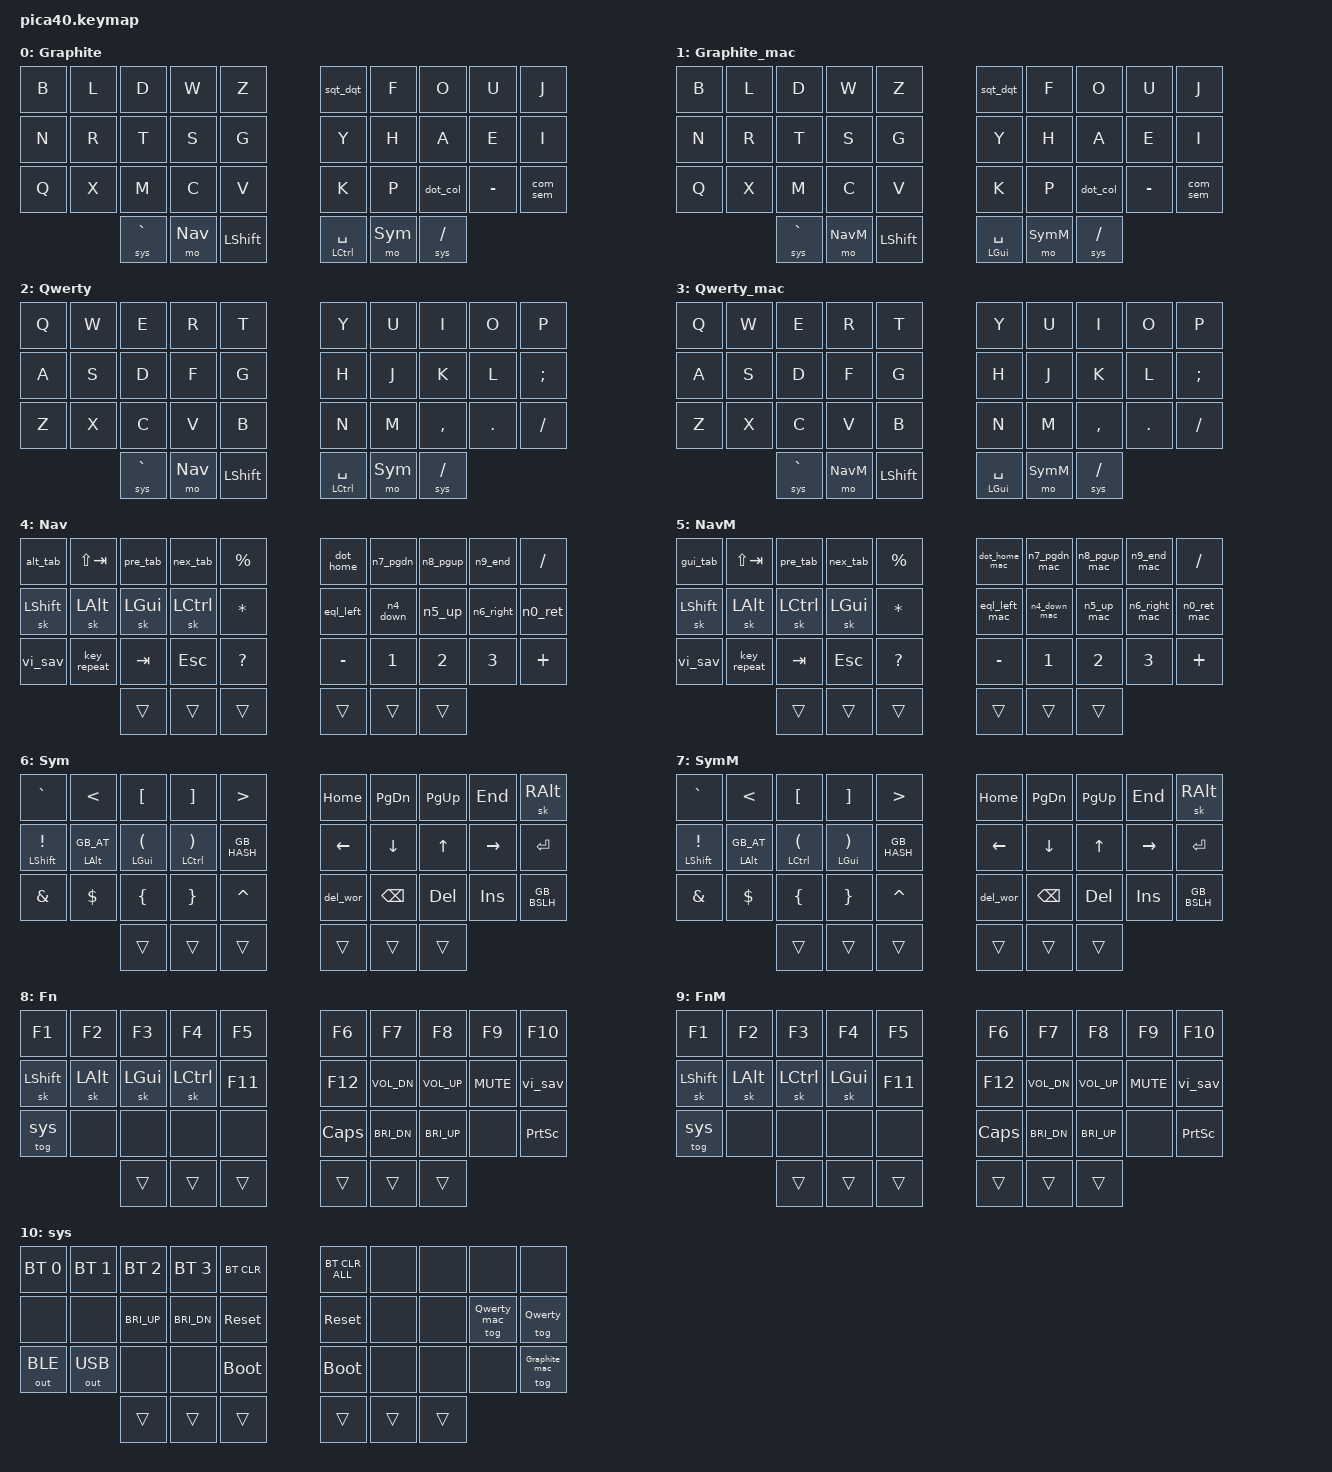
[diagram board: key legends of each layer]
// Auto-generated ZMK Keymap by Python zmk_gen system. DO NOT EDIT DIRECTLY.
#include <dt-bindings/zmk/keys.h>
#include <behaviors.dtsi>
#include <dt-bindings/zmk/bt.h>
#include <dt-bindings/zmk/outputs.h>
#include <zmk-helpers/helper.h>
#include "keys_en_gb_extended.h"

#define PRIOR_IDLE_MS 160
#define QUICK_TAP_MS 175
#define TAPPING_TERM 200

#undef COMBO_TERM
#define COMBO_TERM 50

#define KEYS_L 0 1 2 3 4 10 11 12 13 14 15 22 23 24 25 26 27
#define KEYS_R 5 6 7 8 9 16 17 18 19 20 21 28 29 30 31 32 33
#define THUMBS 34 35 36 37 38 39

/* All Other Behaviors */
&sk {
    release-after-ms = <1000>;
    quick-release;
};

&lt {
    tapping-term-ms = <TAPPING_TERM>;
    quick-tap-ms = <QUICK_TAP_MS>;
    flavor = "hold-preferred";
};

&mt {
    tapping-term-ms = <TAPPING_TERM>;
    quick-tap-ms = <QUICK_TAP_MS>;
    flavor = "hold-preferred";
};

&caps_word {
    continue-list = <UNDERSCORE MINUS BACKSPACE DELETE>;
    /delete-property/ ignore-modifiers;
};

/* Layer ID Definitions */
#define Graphite 0
#define Graphite_mac 1
#define Qwerty 2
#define Qwerty_mac 3
#define Nav 4
#define NavM 5
#define Sym 6
#define SymM 7
#define Fn 8
#define FnM 9
#define sys 10

/ {
    macros {
        uc_deg: uc_deg {
            compatible = "zmk,behavior-macro";
            #binding-cells = <0>;
            bindings = <&kp RALT>, <&kp O>, <&kp O>;
        };
        uc_gbp: uc_gbp {
            compatible = "zmk,behavior-macro";
            #binding-cells = <0>;
            bindings = <&kp RALT>, <&kp LS(L)>, <&kp EQL>;
        };
        uc_eur: uc_eur {
            compatible = "zmk,behavior-macro";
            #binding-cells = <0>;
            bindings = <&kp RALT>, <&kp C>, <&kp EQL>;
        };
        uc_rup: uc_rup {
            compatible = "zmk,behavior-macro";
            #binding-cells = <0>;
            bindings = <&kp RALT>, <&kp R>, <&kp EQL>;
        };
        vi_sav: vi_sav {
            compatible = "zmk,behavior-macro";
            #binding-cells = <0>;
            wait-ms = <20>;
            bindings = <&kp ESC>, <&kp COLON>, <&kp W>, <&kp RET>;
        };
        find: find {
            compatible = "zmk,behavior-macro";
            #binding-cells = <0>;
            bindings = <&kp LC(F)>;
        };
        pre_wor: pre_wor {
            compatible = "zmk,behavior-macro";
            #binding-cells = <0>;
            bindings = <&kp LC(LEFT)>;
        };
        nex_wor: nex_wor {
            compatible = "zmk,behavior-macro";
            #binding-cells = <0>;
            bindings = <&kp LC(RIGHT)>;
        };
        pre_tab: pre_tab {
            compatible = "zmk,behavior-macro";
            #binding-cells = <0>;
            bindings = <&kp LC(LS(TAB))>;
        };
        nex_tab: nex_tab {
            compatible = "zmk,behavior-macro";
            #binding-cells = <0>;
            bindings = <&kp LC(TAB)>;
        };
        pre_dsk: pre_dsk {
            compatible = "zmk,behavior-macro";
            #binding-cells = <0>;
            bindings = <&kp LC(LG(LEFT))>;
        };
        nex_dsk: nex_dsk {
            compatible = "zmk,behavior-macro";
            #binding-cells = <0>;
            bindings = <&kp LC(LG(RIGHT))>;
        };
        cut: cut {
            compatible = "zmk,behavior-macro";
            #binding-cells = <0>;
            bindings = <&kp LC(X)>;
        };
        copy: copy {
            compatible = "zmk,behavior-macro";
            #binding-cells = <0>;
            bindings = <&kp LC(C)>;
        };
        paste: paste {
            compatible = "zmk,behavior-macro";
            #binding-cells = <0>;
            bindings = <&kp LC(V)>;
        };
        half_dn: half_dn {
            compatible = "zmk,behavior-macro";
            #binding-cells = <0>;
            bindings = <&kp LC(D)>;
        };
        half_up: half_up {
            compatible = "zmk,behavior-macro";
            #binding-cells = <0>;
            bindings = <&kp LC(U)>;
        };
        del_wor: del_wor {
            compatible = "zmk,behavior-macro";
            #binding-cells = <0>;
            bindings = <&kp LC(BSPC)>;
        };
        macro_LCTRL_Nav: macro_LCTRL_Nav {
            compatible = "zmk,behavior-macro";
            #binding-cells = <0>;
            wait-ms = <0>;
            tap-ms = <0>;
            bindings
                = <&macro_press &mo Nav>
                , <&macro_press &sk LCTRL>
                , <&macro_pause_for_release>
                , <&macro_release &sk LCTRL>
                , <&macro_release &mo Nav>
                ;
        };
        macro_LGUI_NavM: macro_LGUI_NavM {
            compatible = "zmk,behavior-macro";
            #binding-cells = <0>;
            wait-ms = <0>;
            tap-ms = <0>;
            bindings
                = <&macro_press &mo NavM>
                , <&macro_press &sk LGUI>
                , <&macro_pause_for_release>
                , <&macro_release &sk LGUI>
                , <&macro_release &mo NavM>
                ;
        };
        macro_LGUI_Nav: macro_LGUI_Nav {
            compatible = "zmk,behavior-macro";
            #binding-cells = <0>;
            wait-ms = <0>;
            tap-ms = <0>;
            bindings
                = <&macro_press &mo Nav>
                , <&macro_press &sk LGUI>
                , <&macro_pause_for_release>
                , <&macro_release &sk LGUI>
                , <&macro_release &mo Nav>
                ;
        };
        macro_LCTRL_NavM: macro_LCTRL_NavM {
            compatible = "zmk,behavior-macro";
            #binding-cells = <0>;
            wait-ms = <0>;
            tap-ms = <0>;
            bindings
                = <&macro_press &mo NavM>
                , <&macro_press &sk LCTRL>
                , <&macro_pause_for_release>
                , <&macro_release &sk LCTRL>
                , <&macro_release &mo NavM>
                ;
        };
        macro_LALT_Nav: macro_LALT_Nav {
            compatible = "zmk,behavior-macro";
            #binding-cells = <0>;
            wait-ms = <0>;
            tap-ms = <0>;
            bindings
                = <&macro_press &mo Nav>
                , <&macro_press &sk LALT>
                , <&macro_pause_for_release>
                , <&macro_release &sk LALT>
                , <&macro_release &mo Nav>
                ;
        };
        macro_LSHFT_Nav: macro_LSHFT_Nav {
            compatible = "zmk,behavior-macro";
            #binding-cells = <0>;
            wait-ms = <0>;
            tap-ms = <0>;
            bindings
                = <&macro_press &mo Nav>
                , <&macro_press &sk LSHFT>
                , <&macro_pause_for_release>
                , <&macro_release &sk LSHFT>
                , <&macro_release &mo Nav>
                ;
        };
        macro_LGUI_LCTRL_Nav: macro_LGUI_LCTRL_Nav {
            compatible = "zmk,behavior-macro";
            #binding-cells = <0>;
            wait-ms = <0>;
            tap-ms = <0>;
            bindings
                = <&macro_press &mo Nav>
                , <&macro_press &sk LGUI>
                , <&macro_press &sk LCTRL>
                , <&macro_pause_for_release>
                , <&macro_release &sk LCTRL>
                , <&macro_release &sk LGUI>
                , <&macro_release &mo Nav>
                ;
        };
        macro_LCTRL_LGUI_NavM: macro_LCTRL_LGUI_NavM {
            compatible = "zmk,behavior-macro";
            #binding-cells = <0>;
            wait-ms = <0>;
            tap-ms = <0>;
            bindings
                = <&macro_press &mo NavM>
                , <&macro_press &sk LCTRL>
                , <&macro_press &sk LGUI>
                , <&macro_pause_for_release>
                , <&macro_release &sk LGUI>
                , <&macro_release &sk LCTRL>
                , <&macro_release &mo NavM>
                ;
        };
        macro_LGUI_LALT_Nav: macro_LGUI_LALT_Nav {
            compatible = "zmk,behavior-macro";
            #binding-cells = <0>;
            wait-ms = <0>;
            tap-ms = <0>;
            bindings
                = <&macro_press &mo Nav>
                , <&macro_press &sk LGUI>
                , <&macro_press &sk LALT>
                , <&macro_pause_for_release>
                , <&macro_release &sk LALT>
                , <&macro_release &sk LGUI>
                , <&macro_release &mo Nav>
                ;
        };
        macro_LCTRL_LALT_NavM: macro_LCTRL_LALT_NavM {
            compatible = "zmk,behavior-macro";
            #binding-cells = <0>;
            wait-ms = <0>;
            tap-ms = <0>;
            bindings
                = <&macro_press &mo NavM>
                , <&macro_press &sk LCTRL>
                , <&macro_press &sk LALT>
                , <&macro_pause_for_release>
                , <&macro_release &sk LALT>
                , <&macro_release &sk LCTRL>
                , <&macro_release &mo NavM>
                ;
        };
        macro_LGUI_LSHFT_Nav: macro_LGUI_LSHFT_Nav {
            compatible = "zmk,behavior-macro";
            #binding-cells = <0>;
            wait-ms = <0>;
            tap-ms = <0>;
            bindings
                = <&macro_press &mo Nav>
                , <&macro_press &sk LGUI>
                , <&macro_press &sk LSHFT>
                , <&macro_pause_for_release>
                , <&macro_release &sk LSHFT>
                , <&macro_release &sk LGUI>
                , <&macro_release &mo Nav>
                ;
        };
        macro_LCTRL_LSHFT_NavM: macro_LCTRL_LSHFT_NavM {
            compatible = "zmk,behavior-macro";
            #binding-cells = <0>;
            wait-ms = <0>;
            tap-ms = <0>;
            bindings
                = <&macro_press &mo NavM>
                , <&macro_press &sk LCTRL>
                , <&macro_press &sk LSHFT>
                , <&macro_pause_for_release>
                , <&macro_release &sk LSHFT>
                , <&macro_release &sk LCTRL>
                , <&macro_release &mo NavM>
                ;
        };
        macro_LCTRL_LALT_Nav: macro_LCTRL_LALT_Nav {
            compatible = "zmk,behavior-macro";
            #binding-cells = <0>;
            wait-ms = <0>;
            tap-ms = <0>;
            bindings
                = <&macro_press &mo Nav>
                , <&macro_press &sk LCTRL>
                , <&macro_press &sk LALT>
                , <&macro_pause_for_release>
                , <&macro_release &sk LALT>
                , <&macro_release &sk LCTRL>
                , <&macro_release &mo Nav>
                ;
        };
        macro_LGUI_LALT_NavM: macro_LGUI_LALT_NavM {
            compatible = "zmk,behavior-macro";
            #binding-cells = <0>;
            wait-ms = <0>;
            tap-ms = <0>;
            bindings
                = <&macro_press &mo NavM>
                , <&macro_press &sk LGUI>
                , <&macro_press &sk LALT>
                , <&macro_pause_for_release>
                , <&macro_release &sk LALT>
                , <&macro_release &sk LGUI>
                , <&macro_release &mo NavM>
                ;
        };
        macro_LCTRL_LSHFT_Nav: macro_LCTRL_LSHFT_Nav {
            compatible = "zmk,behavior-macro";
            #binding-cells = <0>;
            wait-ms = <0>;
            tap-ms = <0>;
            bindings
                = <&macro_press &mo Nav>
                , <&macro_press &sk LCTRL>
                , <&macro_press &sk LSHFT>
                , <&macro_pause_for_release>
                , <&macro_release &sk LSHFT>
                , <&macro_release &sk LCTRL>
                , <&macro_release &mo Nav>
                ;
        };
        macro_LGUI_LSHFT_NavM: macro_LGUI_LSHFT_NavM {
            compatible = "zmk,behavior-macro";
            #binding-cells = <0>;
            wait-ms = <0>;
            tap-ms = <0>;
            bindings
                = <&macro_press &mo NavM>
                , <&macro_press &sk LGUI>
                , <&macro_press &sk LSHFT>
                , <&macro_pause_for_release>
                , <&macro_release &sk LSHFT>
                , <&macro_release &sk LGUI>
                , <&macro_release &mo NavM>
                ;
        };
        macro_LCTRL_Sym: macro_LCTRL_Sym {
            compatible = "zmk,behavior-macro";
            #binding-cells = <0>;
            wait-ms = <0>;
            tap-ms = <0>;
            bindings
                = <&macro_press &mo Sym>
                , <&macro_press &sk LCTRL>
                , <&macro_pause_for_release>
                , <&macro_release &sk LCTRL>
                , <&macro_release &mo Sym>
                ;
        };
        macro_LGUI_SymM: macro_LGUI_SymM {
            compatible = "zmk,behavior-macro";
            #binding-cells = <0>;
            wait-ms = <0>;
            tap-ms = <0>;
            bindings
                = <&macro_press &mo SymM>
                , <&macro_press &sk LGUI>
                , <&macro_pause_for_release>
                , <&macro_release &sk LGUI>
                , <&macro_release &mo SymM>
                ;
        };
        macro_LGUI_Sym: macro_LGUI_Sym {
            compatible = "zmk,behavior-macro";
            #binding-cells = <0>;
            wait-ms = <0>;
            tap-ms = <0>;
            bindings
                = <&macro_press &mo Sym>
                , <&macro_press &sk LGUI>
                , <&macro_pause_for_release>
                , <&macro_release &sk LGUI>
                , <&macro_release &mo Sym>
                ;
        };
        macro_LCTRL_SymM: macro_LCTRL_SymM {
            compatible = "zmk,behavior-macro";
            #binding-cells = <0>;
            wait-ms = <0>;
            tap-ms = <0>;
            bindings
                = <&macro_press &mo SymM>
                , <&macro_press &sk LCTRL>
                , <&macro_pause_for_release>
                , <&macro_release &sk LCTRL>
                , <&macro_release &mo SymM>
                ;
        };
        macro_LALT_Sym: macro_LALT_Sym {
            compatible = "zmk,behavior-macro";
            #binding-cells = <0>;
            wait-ms = <0>;
            tap-ms = <0>;
            bindings
                = <&macro_press &mo Sym>
                , <&macro_press &sk LALT>
                , <&macro_pause_for_release>
                , <&macro_release &sk LALT>
                , <&macro_release &mo Sym>
                ;
        };
        macro_LSHFT_Sym: macro_LSHFT_Sym {
            compatible = "zmk,behavior-macro";
            #binding-cells = <0>;
            wait-ms = <0>;
            tap-ms = <0>;
            bindings
                = <&macro_press &mo Sym>
                , <&macro_press &sk LSHFT>
                , <&macro_pause_for_release>
                , <&macro_release &sk LSHFT>
                , <&macro_release &mo Sym>
                ;
        };
        macro_LGUI_LCTRL_Sym: macro_LGUI_LCTRL_Sym {
            compatible = "zmk,behavior-macro";
            #binding-cells = <0>;
            wait-ms = <0>;
            tap-ms = <0>;
            bindings
                = <&macro_press &mo Sym>
                , <&macro_press &sk LGUI>
                , <&macro_press &sk LCTRL>
                , <&macro_pause_for_release>
                , <&macro_release &sk LCTRL>
                , <&macro_release &sk LGUI>
                , <&macro_release &mo Sym>
                ;
        };
        macro_LCTRL_LGUI_SymM: macro_LCTRL_LGUI_SymM {
            compatible = "zmk,behavior-macro";
            #binding-cells = <0>;
            wait-ms = <0>;
            tap-ms = <0>;
            bindings
                = <&macro_press &mo SymM>
                , <&macro_press &sk LCTRL>
                , <&macro_press &sk LGUI>
                , <&macro_pause_for_release>
                , <&macro_release &sk LGUI>
                , <&macro_release &sk LCTRL>
                , <&macro_release &mo SymM>
                ;
        };
        macro_LGUI_LALT_Sym: macro_LGUI_LALT_Sym {
            compatible = "zmk,behavior-macro";
            #binding-cells = <0>;
            wait-ms = <0>;
            tap-ms = <0>;
            bindings
                = <&macro_press &mo Sym>
                , <&macro_press &sk LGUI>
                , <&macro_press &sk LALT>
                , <&macro_pause_for_release>
                , <&macro_release &sk LALT>
                , <&macro_release &sk LGUI>
                , <&macro_release &mo Sym>
                ;
        };
        macro_LCTRL_LALT_SymM: macro_LCTRL_LALT_SymM {
            compatible = "zmk,behavior-macro";
            #binding-cells = <0>;
            wait-ms = <0>;
            tap-ms = <0>;
            bindings
                = <&macro_press &mo SymM>
                , <&macro_press &sk LCTRL>
                , <&macro_press &sk LALT>
                , <&macro_pause_for_release>
                , <&macro_release &sk LALT>
                , <&macro_release &sk LCTRL>
                , <&macro_release &mo SymM>
                ;
        };
        macro_LGUI_LSHFT_Sym: macro_LGUI_LSHFT_Sym {
            compatible = "zmk,behavior-macro";
            #binding-cells = <0>;
            wait-ms = <0>;
            tap-ms = <0>;
            bindings
                = <&macro_press &mo Sym>
                , <&macro_press &sk LGUI>
                , <&macro_press &sk LSHFT>
                , <&macro_pause_for_release>
                , <&macro_release &sk LSHFT>
                , <&macro_release &sk LGUI>
                , <&macro_release &mo Sym>
                ;
        };
        macro_LCTRL_LSHFT_SymM: macro_LCTRL_LSHFT_SymM {
            compatible = "zmk,behavior-macro";
            #binding-cells = <0>;
            wait-ms = <0>;
            tap-ms = <0>;
            bindings
                = <&macro_press &mo SymM>
                , <&macro_press &sk LCTRL>
                , <&macro_press &sk LSHFT>
                , <&macro_pause_for_release>
                , <&macro_release &sk LSHFT>
                , <&macro_release &sk LCTRL>
                , <&macro_release &mo SymM>
                ;
        };
        macro_LCTRL_LALT_Sym: macro_LCTRL_LALT_Sym {
            compatible = "zmk,behavior-macro";
            #binding-cells = <0>;
            wait-ms = <0>;
            tap-ms = <0>;
            bindings
                = <&macro_press &mo Sym>
                , <&macro_press &sk LCTRL>
                , <&macro_press &sk LALT>
                , <&macro_pause_for_release>
                , <&macro_release &sk LALT>
                , <&macro_release &sk LCTRL>
                , <&macro_release &mo Sym>
                ;
        };
        macro_LGUI_LALT_SymM: macro_LGUI_LALT_SymM {
            compatible = "zmk,behavior-macro";
            #binding-cells = <0>;
            wait-ms = <0>;
            tap-ms = <0>;
            bindings
                = <&macro_press &mo SymM>
                , <&macro_press &sk LGUI>
                , <&macro_press &sk LALT>
                , <&macro_pause_for_release>
                , <&macro_release &sk LALT>
                , <&macro_release &sk LGUI>
                , <&macro_release &mo SymM>
                ;
        };
        macro_LCTRL_LSHFT_Sym: macro_LCTRL_LSHFT_Sym {
            compatible = "zmk,behavior-macro";
            #binding-cells = <0>;
            wait-ms = <0>;
            tap-ms = <0>;
            bindings
                = <&macro_press &mo Sym>
                , <&macro_press &sk LCTRL>
                , <&macro_press &sk LSHFT>
                , <&macro_pause_for_release>
                , <&macro_release &sk LSHFT>
                , <&macro_release &sk LCTRL>
                , <&macro_release &mo Sym>
                ;
        };
        macro_LGUI_LSHFT_SymM: macro_LGUI_LSHFT_SymM {
            compatible = "zmk,behavior-macro";
            #binding-cells = <0>;
            wait-ms = <0>;
            tap-ms = <0>;
            bindings
                = <&macro_press &mo SymM>
                , <&macro_press &sk LGUI>
                , <&macro_press &sk LSHFT>
                , <&macro_pause_for_release>
                , <&macro_release &sk LSHFT>
                , <&macro_release &sk LGUI>
                , <&macro_release &mo SymM>
                ;
        };
    };
};

/ {
    behaviors {
        hrm_l: hrm_l {
            compatible = "zmk,behavior-hold-tap";
            #binding-cells = <2>;
            flavor = "tap-preferred";
            tapping-term-ms = <TAPPING_TERM>;
            quick-tap-ms = <QUICK_TAP_MS>;
            require-prior-idle-ms = <PRIOR_IDLE_MS>;
            bindings = <&kp>, <&kp>;
            hold-trigger-key-positions = <KEYS_R THUMBS>;
        };
        hrm_r: hrm_r {
            compatible = "zmk,behavior-hold-tap";
            #binding-cells = <2>;
            flavor = "tap-preferred";
            tapping-term-ms = <TAPPING_TERM>;
            quick-tap-ms = <QUICK_TAP_MS>;
            require-prior-idle-ms = <PRIOR_IDLE_MS>;
            bindings = <&kp>, <&kp>;
            hold-trigger-key-positions = <KEYS_L THUMBS>;
        };
        hrl_l: hrl_l {
            compatible = "zmk,behavior-hold-tap";
            #binding-cells = <2>;
            flavor = "tap-preferred";
            tapping-term-ms = <TAPPING_TERM>;
            quick-tap-ms = <QUICK_TAP_MS>;
            require-prior-idle-ms = <PRIOR_IDLE_MS>;
            bindings = <&mo>, <&kp>;
            hold-trigger-key-positions = <KEYS_R THUMBS>;
        };
        hrl_r: hrl_r {
            compatible = "zmk,behavior-hold-tap";
            #binding-cells = <2>;
            flavor = "tap-preferred";
            tapping-term-ms = <TAPPING_TERM>;
            quick-tap-ms = <QUICK_TAP_MS>;
            require-prior-idle-ms = <PRIOR_IDLE_MS>;
            bindings = <&mo>, <&kp>;
            hold-trigger-key-positions = <KEYS_L THUMBS>;
        };
        thm: thm {
            compatible = "zmk,behavior-hold-tap";
            #binding-cells = <2>;
            flavor = "tap-preferred";
            tapping-term-ms = <TAPPING_TERM>;
            quick-tap-ms = <QUICK_TAP_MS>;
            require-prior-idle-ms = <PRIOR_IDLE_MS>;
            bindings = <&kp>, <&kp>;
            hold-trigger-key-positions = <KEYS_L KEYS_R>;
        };
        thl: thl {
            compatible = "zmk,behavior-hold-tap";
            #binding-cells = <2>;
            flavor = "tap-preferred";
            tapping-term-ms = <TAPPING_TERM>;
            quick-tap-ms = <QUICK_TAP_MS>;
            require-prior-idle-ms = <PRIOR_IDLE_MS>;
            bindings = <&mo>, <&kp>;
            hold-trigger-key-positions = <KEYS_L KEYS_R>;
        };
        kt_off: kt_off {
            compatible = "zmk,behavior-key-toggle";
            #binding-cells = <1>;
            toggle-mode = "off";
        };
        kt_on: kt_on {
            compatible = "zmk,behavior-key-toggle";
            #binding-cells = <1>;
            toggle-mode = "on";
        };
        bsdel: bsdel {
            compatible = "zmk,behavior-mod-morph";
            #binding-cells = <0>;
            bindings = <&kp BACKSPACE>, <&kp DELETE>;
            mods = <(MOD_LALT|MOD_LGUI|MOD_LSFT)>;
        };
        bsdel_mac: bsdel_mac {
            compatible = "zmk,behavior-mod-morph";
            #binding-cells = <0>;
            bindings = <&kp BACKSPACE>, <&kp DELETE>;
            mods = <(MOD_LALT|LCTL|MOD_LSFT)>;
        };
        dlr_gbp: dlr_gbp {
            compatible = "zmk,behavior-mod-morph";
            #binding-cells = <0>;
            bindings = <&kp DLLR>, <&uc_gbp>;
            mods = <(MOD_LSFT|MOD_RSFT)>;
        };
        amps_eur: amps_eur {
            compatible = "zmk,behavior-mod-morph";
            #binding-cells = <0>;
            bindings = <&kp AMPS>, <&uc_eur>;
            mods = <(MOD_LSFT|MOD_RSFT)>;
        };
        star_rup: star_rup {
            compatible = "zmk,behavior-mod-morph";
            #binding-cells = <0>;
            bindings = <&kp STAR>, <&uc_rup>;
            mods = <(MOD_LSFT|MOD_RSFT)>;
        };
        dot_col: dot_col {
            compatible = "zmk,behavior-mod-morph";
            #binding-cells = <0>;
            bindings = <&kp DOT>, <&kp COLON>;
            mods = <(MOD_LSFT)>;
        };
        com_sem: com_sem {
            compatible = "zmk,behavior-mod-morph";
            #binding-cells = <0>;
            bindings = <&kp COMMA>, <&kp SEMICOLON>;
            mods = <(MOD_LSFT)>;
        };
        sqt_dqt: sqt_dqt {
            compatible = "zmk,behavior-mod-morph";
            #binding-cells = <0>;
            bindings = <&kp SQT>, <&kp GB_DQT>;
            mods = <(MOD_LSFT)>;
        };
        lpar_lt: lpar_lt {
            compatible = "zmk,behavior-mod-morph";
            #binding-cells = <0>;
            bindings = <&kp LPAR>, <&kp LT>;
            mods = <(MOD_LSFT)>;
        };
        rpar_gt: rpar_gt {
            compatible = "zmk,behavior-mod-morph";
            #binding-cells = <0>;
            bindings = <&kp RPAR>, <&kp GT>;
            mods = <(MOD_LSFT)>;
        };
        eql_left: eql_left {
            compatible = "zmk,behavior-mod-morph";
            #binding-cells = <0>;
            bindings = <&kp EQUAL>, <&kp LEFT>;
            mods = <(MOD_LGUI|MOD_LALT)>;
            keep-mods = <(MOD_LGUI|MOD_LALT)>;
        };
        eql_left_mac: eql_left_mac {
            compatible = "zmk,behavior-mod-morph";
            #binding-cells = <0>;
            bindings = <&kp EQUAL>, <&kp LEFT>;
            mods = <(LCTL|MOD_LALT)>;
            keep-mods = <(LCTL|MOD_LALT)>;
        };
        n4_down: n4_down {
            compatible = "zmk,behavior-mod-morph";
            #binding-cells = <0>;
            bindings = <&kp N4>, <&kp DOWN>;
            mods = <(MOD_LGUI|MOD_LALT)>;
            keep-mods = <(MOD_LGUI|MOD_LALT)>;
        };
        n4_down_mac: n4_down_mac {
            compatible = "zmk,behavior-mod-morph";
            #binding-cells = <0>;
            bindings = <&kp N4>, <&kp DOWN>;
            mods = <(LCTL|MOD_LALT)>;
            keep-mods = <(LCTL|MOD_LALT)>;
        };
        n5_up: n5_up {
            compatible = "zmk,behavior-mod-morph";
            #binding-cells = <0>;
            bindings = <&kp N5>, <&kp UP>;
            mods = <(MOD_LGUI|MOD_LALT)>;
            keep-mods = <(MOD_LGUI|MOD_LALT)>;
        };
        n5_up_mac: n5_up_mac {
            compatible = "zmk,behavior-mod-morph";
            #binding-cells = <0>;
            bindings = <&kp N5>, <&kp UP>;
            mods = <(LCTL|MOD_LALT)>;
            keep-mods = <(LCTL|MOD_LALT)>;
        };
        n6_right: n6_right {
            compatible = "zmk,behavior-mod-morph";
            #binding-cells = <0>;
            bindings = <&kp N6>, <&kp RIGHT>;
            mods = <(MOD_LGUI|MOD_LALT)>;
            keep-mods = <(MOD_LGUI|MOD_LALT)>;
        };
        n6_right_mac: n6_right_mac {
            compatible = "zmk,behavior-mod-morph";
            #binding-cells = <0>;
            bindings = <&kp N6>, <&kp RIGHT>;
            mods = <(LCTL|MOD_LALT)>;
            keep-mods = <(LCTL|MOD_LALT)>;
        };
        n0_ret: n0_ret {
            compatible = "zmk,behavior-mod-morph";
            #binding-cells = <0>;
            bindings = <&kp N0>, <&kp RET>;
            mods = <(MOD_LGUI|MOD_LALT)>;
            keep-mods = <(MOD_LGUI|MOD_LALT)>;
        };
        n0_ret_mac: n0_ret_mac {
            compatible = "zmk,behavior-mod-morph";
            #binding-cells = <0>;
            bindings = <&kp N0>, <&kp RET>;
            mods = <(LCTL|MOD_LALT)>;
            keep-mods = <(LCTL|MOD_LALT)>;
        };
        n7_pgdn: n7_pgdn {
            compatible = "zmk,behavior-mod-morph";
            #binding-cells = <0>;
            bindings = <&kp N7>, <&kp PG_DN>;
            mods = <(MOD_LGUI|MOD_LALT)>;
            keep-mods = <(MOD_LGUI|MOD_LALT)>;
        };
        n7_pgdn_mac: n7_pgdn_mac {
            compatible = "zmk,behavior-mod-morph";
            #binding-cells = <0>;
            bindings = <&kp N7>, <&kp PG_DN>;
            mods = <(LCTL|MOD_LALT)>;
            keep-mods = <(LCTL|MOD_LALT)>;
        };
        n8_pgup: n8_pgup {
            compatible = "zmk,behavior-mod-morph";
            #binding-cells = <0>;
            bindings = <&kp N8>, <&kp PG_UP>;
            mods = <(MOD_LGUI|MOD_LALT)>;
            keep-mods = <(MOD_LGUI|MOD_LALT)>;
        };
        n8_pgup_mac: n8_pgup_mac {
            compatible = "zmk,behavior-mod-morph";
            #binding-cells = <0>;
            bindings = <&kp N8>, <&kp PG_UP>;
            mods = <(LCTL|MOD_LALT)>;
            keep-mods = <(LCTL|MOD_LALT)>;
        };
        dot_home: dot_home {
            compatible = "zmk,behavior-mod-morph";
            #binding-cells = <0>;
            bindings = <&kp DOT>, <&kp HOME>;
            mods = <(MOD_LGUI|MOD_LALT)>;
            keep-mods = <(MOD_LGUI|MOD_LALT)>;
        };
        dot_home_mac: dot_home_mac {
            compatible = "zmk,behavior-mod-morph";
            #binding-cells = <0>;
            bindings = <&kp DOT>, <&kp HOME>;
            mods = <(LCTL|MOD_LALT)>;
            keep-mods = <(LCTL|MOD_LALT)>;
        };
        n9_end: n9_end {
            compatible = "zmk,behavior-mod-morph";
            #binding-cells = <0>;
            bindings = <&kp N9>, <&kp END>;
            mods = <(MOD_LGUI|MOD_LALT)>;
            keep-mods = <(MOD_LGUI|MOD_LALT)>;
        };
        n9_end_mac: n9_end_mac {
            compatible = "zmk,behavior-mod-morph";
            #binding-cells = <0>;
            bindings = <&kp N9>, <&kp END>;
            mods = <(LCTL|MOD_LALT)>;
            keep-mods = <(LCTL|MOD_LALT)>;
        };
        alt_tab: alt_tab {
            compatible = "zmk,behavior-tri-state";
            #binding-cells = <0>;
            bindings = <&kt_on LALT>, <&kp TAB>, <&kt_off LALT>;
            ignored-key-positions = <1>;
        };
        ctl_tab: ctl_tab {
            compatible = "zmk,behavior-tri-state";
            #binding-cells = <0>;
            bindings = <&kt_on LCTRL>, <&kp TAB>, <&kt_off LCTRL>;
            ignored-key-positions = <1>;
        };
        gui_tab: gui_tab {
            compatible = "zmk,behavior-tri-state";
            #binding-cells = <0>;
            bindings = <&kt_on LGUI>, <&kp TAB>, <&kt_off LGUI>;
            ignored-key-positions = <1>;
        };
    };
};

/ {
    combos {
        compatible = "zmk,combos";
        combo_degree {
            timeout-ms = <COMBO_TERM>;
            key-positions = <0 11>;
            bindings = <&uc_deg>;
        };
        combo_bootloader {
            timeout-ms = <COMBO_TERM>;
            key-positions = <4 3 6 5>;
            bindings = <&bootloader>;
        };
        combo_reset {
            timeout-ms = <COMBO_TERM>;
            key-positions = <4 5>;
            bindings = <&sys_reset>;
        };
        combo_LCTRL_Nav {
            timeout-ms = <COMBO_TERM>;
            key-positions = <35 14>;
            bindings = <&macro_LCTRL_Nav>;
            layers = <0 2>;
            slow-release;
        };
        combo_LGUI_NavM {
            timeout-ms = <COMBO_TERM>;
            key-positions = <35 14>;
            bindings = <&macro_LGUI_NavM>;
            layers = <1 3>;
            slow-release;
        };
        combo_LGUI_Nav {
            timeout-ms = <COMBO_TERM>;
            key-positions = <35 13>;
            bindings = <&macro_LGUI_Nav>;
            layers = <0 2>;
            slow-release;
        };
        combo_LCTRL_NavM {
            timeout-ms = <COMBO_TERM>;
            key-positions = <35 13>;
            bindings = <&macro_LCTRL_NavM>;
            layers = <1 3>;
            slow-release;
        };
        combo_LALT_Nav {
            timeout-ms = <COMBO_TERM>;
            key-positions = <35 12>;
            bindings = <&macro_LALT_Nav>;
            layers = <0 2>;
            slow-release;
        };
        combo_LSHFT_Nav {
            timeout-ms = <COMBO_TERM>;
            key-positions = <35 11>;
            bindings = <&macro_LSHFT_Nav>;
            layers = <0 2>;
            slow-release;
        };
        combo_LGUI_LCTRL_Nav {
            timeout-ms = <COMBO_TERM>;
            key-positions = <35 13 14>;
            bindings = <&macro_LGUI_LCTRL_Nav>;
            layers = <0 2>;
            slow-release;
        };
        combo_LCTRL_LGUI_NavM {
            timeout-ms = <COMBO_TERM>;
            key-positions = <35 13 14>;
            bindings = <&macro_LCTRL_LGUI_NavM>;
            layers = <1 3>;
            slow-release;
        };
        combo_LGUI_LALT_Nav {
            timeout-ms = <COMBO_TERM>;
            key-positions = <35 13 12>;
            bindings = <&macro_LGUI_LALT_Nav>;
            layers = <0 2>;
            slow-release;
        };
        combo_LCTRL_LALT_NavM {
            timeout-ms = <COMBO_TERM>;
            key-positions = <35 13 12>;
            bindings = <&macro_LCTRL_LALT_NavM>;
            layers = <1 3>;
            slow-release;
        };
        combo_LGUI_LSHFT_Nav {
            timeout-ms = <COMBO_TERM>;
            key-positions = <35 13 11>;
            bindings = <&macro_LGUI_LSHFT_Nav>;
            layers = <0 2>;
            slow-release;
        };
        combo_LCTRL_LSHFT_NavM {
            timeout-ms = <COMBO_TERM>;
            key-positions = <35 13 11>;
            bindings = <&macro_LCTRL_LSHFT_NavM>;
            layers = <1 3>;
            slow-release;
        };
        combo_LCTRL_LALT_Nav {
            timeout-ms = <COMBO_TERM>;
            key-positions = <35 14 12>;
            bindings = <&macro_LCTRL_LALT_Nav>;
            layers = <0 2>;
            slow-release;
        };
        combo_LGUI_LALT_NavM {
            timeout-ms = <COMBO_TERM>;
            key-positions = <35 14 12>;
            bindings = <&macro_LGUI_LALT_NavM>;
            layers = <1 3>;
            slow-release;
        };
        combo_LCTRL_LSHFT_Nav {
            timeout-ms = <COMBO_TERM>;
            key-positions = <35 14 11>;
            bindings = <&macro_LCTRL_LSHFT_Nav>;
            layers = <0 2>;
            slow-release;
        };
        combo_LGUI_LSHFT_NavM {
            timeout-ms = <COMBO_TERM>;
            key-positions = <35 14 11>;
            bindings = <&macro_LGUI_LSHFT_NavM>;
            layers = <1 3>;
            slow-release;
        };
        combo_LCTRL_Sym {
            timeout-ms = <COMBO_TERM>;
            key-positions = <38 14>;
            bindings = <&macro_LCTRL_Sym>;
            layers = <0 2>;
            slow-release;
        };
        combo_LGUI_SymM {
            timeout-ms = <COMBO_TERM>;
            key-positions = <38 14>;
            bindings = <&macro_LGUI_SymM>;
            layers = <1 3>;
            slow-release;
        };
        combo_LGUI_Sym {
            timeout-ms = <COMBO_TERM>;
            key-positions = <38 13>;
            bindings = <&macro_LGUI_Sym>;
            layers = <0 2>;
            slow-release;
        };
        combo_LCTRL_SymM {
            timeout-ms = <COMBO_TERM>;
            key-positions = <38 13>;
            bindings = <&macro_LCTRL_SymM>;
            layers = <1 3>;
            slow-release;
        };
        combo_LALT_Sym {
            timeout-ms = <COMBO_TERM>;
            key-positions = <38 12>;
            bindings = <&macro_LALT_Sym>;
            layers = <0 2>;
            slow-release;
        };
        combo_LSHFT_Sym {
            timeout-ms = <COMBO_TERM>;
            key-positions = <38 11>;
            bindings = <&macro_LSHFT_Sym>;
            layers = <0 2>;
            slow-release;
        };
        combo_LGUI_LCTRL_Sym {
            timeout-ms = <COMBO_TERM>;
            key-positions = <38 13 14>;
            bindings = <&macro_LGUI_LCTRL_Sym>;
            layers = <0 2>;
            slow-release;
        };
        combo_LCTRL_LGUI_SymM {
            timeout-ms = <COMBO_TERM>;
            key-positions = <38 13 14>;
            bindings = <&macro_LCTRL_LGUI_SymM>;
            layers = <1 3>;
            slow-release;
        };
        combo_LGUI_LALT_Sym {
            timeout-ms = <COMBO_TERM>;
            key-positions = <38 13 12>;
            bindings = <&macro_LGUI_LALT_Sym>;
            layers = <0 2>;
            slow-release;
        };
        combo_LCTRL_LALT_SymM {
            timeout-ms = <COMBO_TERM>;
            key-positions = <38 13 12>;
            bindings = <&macro_LCTRL_LALT_SymM>;
            layers = <1 3>;
            slow-release;
        };
        combo_LGUI_LSHFT_Sym {
            timeout-ms = <COMBO_TERM>;
            key-positions = <38 13 11>;
            bindings = <&macro_LGUI_LSHFT_Sym>;
            layers = <0 2>;
            slow-release;
        };
        combo_LCTRL_LSHFT_SymM {
            timeout-ms = <COMBO_TERM>;
            key-positions = <38 13 11>;
            bindings = <&macro_LCTRL_LSHFT_SymM>;
            layers = <1 3>;
            slow-release;
        };
        combo_LCTRL_LALT_Sym {
            timeout-ms = <COMBO_TERM>;
            key-positions = <38 14 12>;
            bindings = <&macro_LCTRL_LALT_Sym>;
            layers = <0 2>;
            slow-release;
        };
        combo_LGUI_LALT_SymM {
            timeout-ms = <COMBO_TERM>;
            key-positions = <38 14 12>;
            bindings = <&macro_LGUI_LALT_SymM>;
            layers = <1 3>;
            slow-release;
        };
        combo_LCTRL_LSHFT_Sym {
            timeout-ms = <COMBO_TERM>;
            key-positions = <38 14 11>;
            bindings = <&macro_LCTRL_LSHFT_Sym>;
            layers = <0 2>;
            slow-release;
        };
        combo_LGUI_LSHFT_SymM {
            timeout-ms = <COMBO_TERM>;
            key-positions = <38 14 11>;
            bindings = <&macro_LGUI_LSHFT_SymM>;
            layers = <1 3>;
            slow-release;
        };
    };
};

/ {
    keymap {
        compatible = "zmk,keymap";

        Graphite {
            bindings = <
                &kp B &kp L &kp D &kp W &kp Z /**/ &sqt_dqt &kp F &kp O    &kp U     &kp J   
                &kp N &kp R &kp T &kp S &kp G /**/ &kp Y    &kp H &kp A    &kp E     &kp I   
                &kp Q &kp X &kp M &kp C &kp V /**/ &kp K    &kp P &dot_col &kp MINUS &com_sem
                &lt sys GRAVE &mo Nav &kp LSHFT /**/ &thm LCTRL SPACE &mo Sym &lt sys FSLH
            >;
        };
        Graphite_mac {
            bindings = <
                &kp B &kp L &kp D &kp W &kp Z /**/ &sqt_dqt &kp F &kp O    &kp U     &kp J   
                &kp N &kp R &kp T &kp S &kp G /**/ &kp Y    &kp H &kp A    &kp E     &kp I   
                &kp Q &kp X &kp M &kp C &kp V /**/ &kp K    &kp P &dot_col &kp MINUS &com_sem
                &lt sys GRAVE &mo NavM &kp LSHFT /**/ &thm LGUI SPACE &mo SymM &lt sys FSLH
            >;
        };
        Qwerty {
            bindings = <
                &kp Q &kp W &kp E &kp R &kp T /**/ &kp Y &kp U &kp I     &kp O   &kp P   
                &kp A &kp S &kp D &kp F &kp G /**/ &kp H &kp J &kp K     &kp L   &kp SEMI
                &kp Z &kp X &kp C &kp V &kp B /**/ &kp N &kp M &kp COMMA &kp DOT &kp FSLH
                &lt sys GRAVE &mo Nav &kp LSHFT /**/ &thm LCTRL SPACE &mo Sym &lt sys FSLH
            >;
        };
        Qwerty_mac {
            bindings = <
                &kp Q &kp W &kp E &kp R &kp T /**/ &kp Y &kp U &kp I     &kp O   &kp P   
                &kp A &kp S &kp D &kp F &kp G /**/ &kp H &kp J &kp K     &kp L   &kp SEMI
                &kp Z &kp X &kp C &kp V &kp B /**/ &kp N &kp M &kp COMMA &kp DOT &kp FSLH
                &lt sys GRAVE &mo NavM &kp LSHFT /**/ &thm LGUI SPACE &mo SymM &lt sys FSLH
            >;
        };
        Nav {
            bindings = <
                &alt_tab  &kp LS(TAB) &pre_tab &nex_tab  &kp PRCNT /**/ &dot_home &n7_pgdn &n8_pgup &n9_end   &kp FSLH
                &sk LSHFT &sk LALT    &sk LGUI &sk LCTRL &kp STAR  /**/ &eql_left &n4_down &n5_up   &n6_right &n0_ret 
                &vi_sav   &key_repeat &kp TAB  &kp ESC   &kp QMARK /**/ &kp MINUS &kp N1   &kp N2   &kp N3    &kp PLUS
                &trans &trans &trans /**/ &trans &trans &trans
            >;
        };
        NavM {
            bindings = <
                &gui_tab  &kp LS(TAB) &pre_tab  &nex_tab &kp PRCNT /**/ &dot_home_mac &n7_pgdn_mac &n8_pgup_mac &n9_end_mac   &kp FSLH   
                &sk LSHFT &sk LALT    &sk LCTRL &sk LGUI &kp STAR  /**/ &eql_left_mac &n4_down_mac &n5_up_mac   &n6_right_mac &n0_ret_mac
                &vi_sav   &key_repeat &kp TAB   &kp ESC  &kp QMARK /**/ &kp MINUS     &kp N1       &kp N2       &kp N3        &kp PLUS   
                &trans &trans &trans /**/ &trans &trans &trans
            >;
        };
        Sym {
            bindings = <
                &kp GRAVE         &kp LT            &kp LBKT         &kp RBKT          &kp GT      /**/ &kp HOME &kp PG_DN &kp PG_UP &kp END   &sk RALT   
                &hrm_l LSHFT EXCL &hrm_l LALT GB_AT &hrm_l LGUI LPAR &hrm_l LCTRL RPAR &kp GB_HASH /**/ &kp LEFT &kp DOWN  &kp UP    &kp RIGHT &kp RET    
                &kp AMPS          &kp DLLR          &kp LBRC         &kp RBRC          &kp CARET   /**/ &del_wor &kp BSPC  &kp DEL   &kp INS   &kp GB_BSLH
                &trans &trans &trans /**/ &trans &trans &trans
            >;
        };
        SymM {
            bindings = <
                &kp GRAVE         &kp LT            &kp LBKT          &kp RBKT         &kp GT      /**/ &kp HOME &kp PG_DN &kp PG_UP &kp END   &sk RALT   
                &hrm_l LSHFT EXCL &hrm_l LALT GB_AT &hrm_l LCTRL LPAR &hrm_l LGUI RPAR &kp GB_HASH /**/ &kp LEFT &kp DOWN  &kp UP    &kp RIGHT &kp RET    
                &kp AMPS          &kp DLLR          &kp LBRC          &kp RBRC         &kp CARET   /**/ &del_wor &kp BSPC  &kp DEL   &kp INS   &kp GB_BSLH
                &trans &trans &trans /**/ &trans &trans &trans
            >;
        };
        Fn {
            bindings = <
                &kp F1    &kp F2   &kp F3   &kp F4    &kp F5  /**/ &kp F6   &kp F7       &kp F8       &kp F9     &kp F10  
                &sk LSHFT &sk LALT &sk LGUI &sk LCTRL &kp F11 /**/ &kp F12  &kp C_VOL_DN &kp C_VOL_UP &kp C_MUTE &vi_sav  
                &tog sys  &none    &none    &none     &none   /**/ &kp CAPS &kp C_BRI_DN &kp C_BRI_UP &none      &kp PSCRN
                &trans &trans &trans /**/ &trans &trans &trans
            >;
        };
        FnM {
            bindings = <
                &kp F1    &kp F2   &kp F3    &kp F4   &kp F5  /**/ &kp F6   &kp F7       &kp F8       &kp F9     &kp F10  
                &sk LSHFT &sk LALT &sk LCTRL &sk LGUI &kp F11 /**/ &kp F12  &kp C_VOL_DN &kp C_VOL_UP &kp C_MUTE &vi_sav  
                &tog sys  &none    &none     &none    &none   /**/ &kp CAPS &kp C_BRI_DN &kp C_BRI_UP &none      &kp PSCRN
                &trans &trans &trans /**/ &trans &trans &trans
            >;
        };
        sys {
            bindings = <
                &bt BT_SEL 0 &bt BT_SEL 1 &bt BT_SEL 2 &bt BT_SEL 3 &bt BT_CLR  /**/ &bt BT_CLR_ALL &none &none &none           &none            
                &none        &none        &kp C_BRI_UP &kp C_BRI_DN &sys_reset  /**/ &sys_reset     &none &none &tog Qwerty_mac &tog Qwerty      
                &out OUT_BLE &out OUT_USB &none        &none        &bootloader /**/ &bootloader    &none &none &none           &tog Graphite_mac
                &trans &trans &trans /**/ &trans &trans &trans
            >;
        };
    };
};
